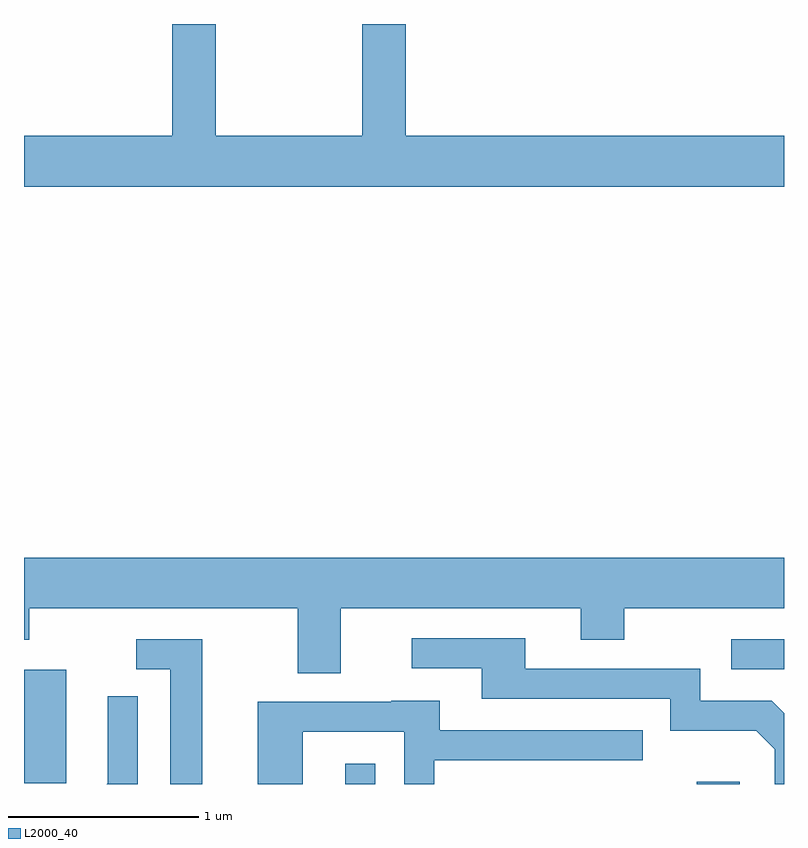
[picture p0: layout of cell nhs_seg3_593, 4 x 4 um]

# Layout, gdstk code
import gdstk
lib = gdstk.Library(unit=1e-6, precision=1e-09)
def R(c, l, rs):  # rectangles x0, y0, x1, y1
    for r in rs: c.add(gdstk.rectangle(r[:2], r[2:], *l))
def P(c, l, *ps):  # polygons
    for p in ps: c.add(gdstk.Polygon(p, *l))
L2000_40 = (2000, 40)

nhs_seg3_593 = lib.new_cell('nhs_seg3_593')
R(nhs_seg3_593, L2000_40, [(203.301,1213.892,203.459,1213.998), (205.151,1213.892,205.379,1213.904), (201.611,1213.896,201.834,1214.494), (205.333,1214.496,205.611,1214.654)])
P(nhs_seg3_593, L2000_40, [(205.611,1217.304),(203.619,1217.304),(203.619,1217.892),(203.391,1217.892),(203.391,1217.304),(202.619,1217.304),(202.619,1217.892),(202.391,1217.892),(202.391,1217.304),(201.611,1217.304),(201.611,1217.036),(205.611,1217.036)],
  [(203.279,1214.816),(204.541,1214.816),(204.541,1214.651),(204.769,1214.651),(204.769,1214.816),(205.611,1214.816),(205.611,1215.084),(201.611,1215.084),(201.611,1214.651),(201.639,1214.651),(201.639,1214.816),(203.051,1214.816),(203.051,1214.476),(203.279,1214.476)],
  [(205.611,1214.265),(205.547,1214.329),(205.169,1214.329),(205.169,1214.499),(204.249,1214.499),(204.249,1214.659),(203.653,1214.659),(203.653,1214.501),(204.021,1214.501),(204.021,1214.341),(205.011,1214.341),(205.011,1214.171),(205.464,1214.171),(205.561,1214.074),(205.561,1213.892),(205.611,1213.892)],
  [(202.549,1214.654),(202.203,1214.654),(202.203,1214.496),(202.381,1214.496),(202.381,1213.892),(202.549,1213.892)],
  [(202.209,1214.353),(202.051,1214.353),(202.051,1213.897),(202.046,1213.892),(202.209,1213.892)],
  [(203.079,1214.166),(203.611,1214.166),(203.611,1213.892),(203.769,1213.892),(203.769,1214.016),(204.868,1214.016),(204.868,1214.174),(203.799,1214.174),(203.799,1214.329),(203.545,1214.329),(203.545,1214.324),(202.841,1214.324),(202.841,1213.892),(203.079,1213.892)])

lib.write_gds('nhs_seg3_593.gds')
